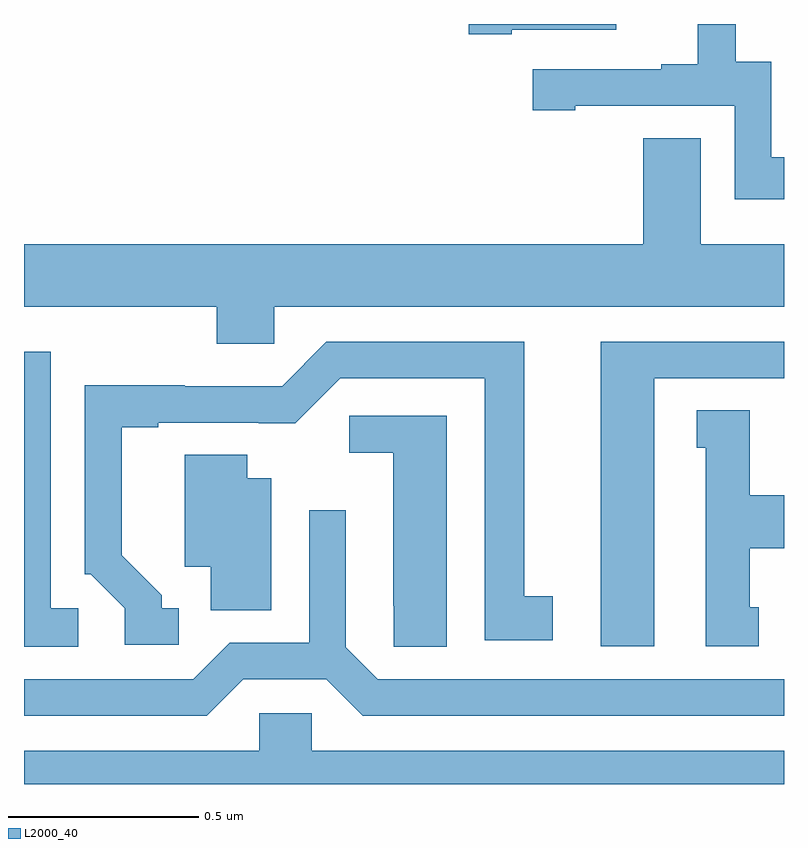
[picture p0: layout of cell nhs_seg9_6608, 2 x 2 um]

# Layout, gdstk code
import gdstk
lib = gdstk.Library(unit=1e-6, precision=1e-09)
def P(c, l, *ps):  # polygons
    for p in ps: c.add(gdstk.Polygon(p, *l))
L2000_40 = (2000, 40)

nhs_seg9_6608 = lib.new_cell('nhs_seg9_6608')
P(nhs_seg9_6608, L2000_40, [(195.283,1194.485),(195.559,1194.485),(195.559,1194.5),(195.171,1194.5),(195.171,1194.473),(195.283,1194.473)],
  [(196,1194.15),(195.967,1194.15),(195.967,1194.401),(195.873,1194.401),(195.873,1194.5),(195.773,1194.5),(195.773,1194.394),(195.677,1194.394),(195.677,1194.381),(195.339,1194.381),(195.339,1194.273),(195.451,1194.273),(195.451,1194.285),(195.87,1194.285),(195.87,1194.039),(196,1194.039)],
  [(194.658,1193.756),(196,1193.756),(196,1193.92),(195.781,1193.92),(195.781,1194.2),(195.629,1194.2),(195.629,1193.92),(194,1193.92),(194,1193.756),(194.507,1193.756),(194.507,1193.658),(194.658,1193.658)],
  [(194.407,1192.962),(194.362,1192.962),(194.362,1192.997),(194.257,1193.102),(194.257,1193.439),(194.353,1193.439),(194.353,1193.451),(194.618,1193.451),(194.618,1193.45),(194.714,1193.45),(194.832,1193.568),(195.212,1193.568),(195.212,1192.878),(195.391,1192.878),(195.391,1192.994),(195.316,1192.994),(195.316,1193.664),(194.796,1193.664),(194.679,1193.547),(194.423,1193.547),(194.423,1193.549),(194.16,1193.549),(194.16,1193.052),(194.175,1193.052),(194.265,1192.962),(194.265,1192.866),(194.407,1192.866)],
  [(195.658,1193.568),(196,1193.568),(196,1193.664),(195.518,1193.664),(195.518,1192.863),(195.658,1192.863)],
  [(194.143,1192.962),(194.07,1192.962),(194.07,1193.637),(194,1193.637),(194,1192.861),(194.143,1192.861)],
  [(195.934,1192.965),(195.91,1192.965),(195.91,1193.12),(196,1193.12),(196,1193.26),(195.91,1193.26),(195.91,1193.483),(195.77,1193.483),(195.77,1193.385),(195.794,1193.385),(195.794,1192.863),(195.934,1192.863)],
  [(195.112,1193.469),(194.856,1193.469),(194.856,1193.372),(194.972,1193.372),(194.972,1192.969),(194.973,1192.969),(194.973,1192.861),(195.112,1192.861)],
  [(194.65,1193.305),(194.587,1193.305),(194.587,1193.366),(194.423,1193.366),(194.423,1193.072),(194.492,1193.072),(194.492,1192.957),(194.65,1192.957)],
  [(194.577,1192.776),(194.795,1192.776),(194.891,1192.68),(196,1192.68),(196,1192.776),(194.931,1192.776),(194.847,1192.86),(194.847,1193.221),(194.751,1193.221),(194.751,1192.872),(194.541,1192.872),(194.445,1192.776),(194,1192.776),(194,1192.68),(194.481,1192.68)],
  [(196,1192.588),(194.757,1192.588),(194.757,1192.686),(194.619,1192.686),(194.619,1192.588),(194,1192.588),(194,1192.5),(196,1192.5)])

lib.write_gds('nhs_seg9_6608.gds')
